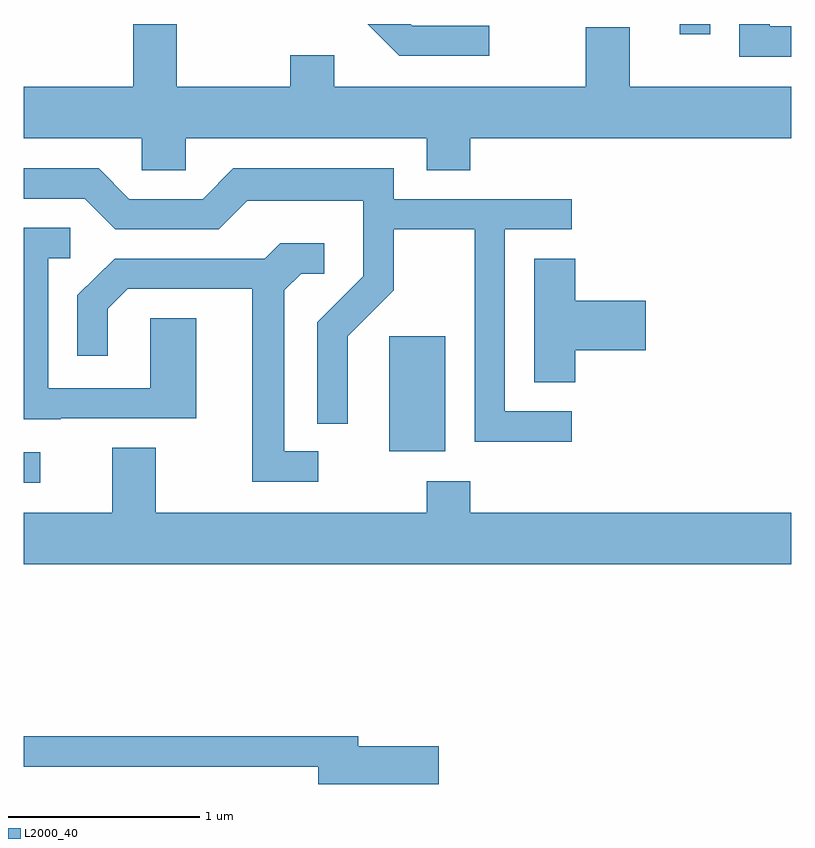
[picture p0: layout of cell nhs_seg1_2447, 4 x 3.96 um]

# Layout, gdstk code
import gdstk
lib = gdstk.Library(unit=1e-6, precision=1e-09)
def R(c, l, rs):  # rectangles x0, y0, x1, y1
    for r in rs: c.add(gdstk.rectangle(r[:2], r[2:], *l))
def P(c, l, *ps):  # polygons
    for p in ps: c.add(gdstk.Polygon(p, *l))
L2000_40 = (2000, 40)

nhs_seg1_2447 = lib.new_cell('nhs_seg1_2447')
R(nhs_seg1_2447, L2000_40, [(259.611,913.321,259.698,913.479), (261.516,913.486,261.809,914.084), (263.031,915.658,263.189,915.712)])
P(nhs_seg1_2447, L2000_40, [(263.611,915.699),(263.499,915.699),(263.499,915.712),(263.341,915.712),(263.341,915.541),(263.611,915.541)],
  [(262.038,915.704),(261.637,915.704),(261.629,915.712),(261.403,915.712),(261.569,915.546),(262.038,915.546)],
  [(260.454,915.116),(261.711,915.116),(261.711,914.951),(261.939,914.951),(261.939,915.116),(263.611,915.116),(263.611,915.384),(262.769,915.384),(262.769,915.694),(262.541,915.694),(262.541,915.384),(261.229,915.384),(261.229,915.549),(261.001,915.549),(261.001,915.384),(260.409,915.384),(260.409,915.712),(260.181,915.712),(260.181,915.384),(259.611,915.384),(259.611,915.116),(260.226,915.116),(260.226,914.951),(260.454,914.951)],
  [(262.468,913.694),(262.119,913.694),(262.119,914.641),(262.468,914.641),(262.468,914.799),(261.539,914.799),(261.539,914.959),(260.704,914.959),(260.544,914.799),(260.162,914.799),(260.002,914.959),(259.611,914.959),(259.611,914.801),(259.929,914.801),(260.089,914.641),(260.627,914.641),(260.777,914.791),(261.381,914.791),(261.381,914.397),(261.141,914.157),(261.141,913.628),(261.299,913.628),(261.299,914.084),(261.539,914.324),(261.539,914.641),(261.961,914.641),(261.961,913.536),(262.468,913.536)],
  [(259.805,913.656),(260.509,913.656),(260.509,914.179),(260.271,914.179),(260.271,913.814),(259.739,913.814),(259.739,914.491),(259.853,914.491),(259.853,914.649),(259.611,914.649),(259.611,913.651),(259.805,913.651)],
  [(261.147,913.484),(260.969,913.484),(260.969,914.324),(261.057,914.411),(261.178,914.411),(261.178,914.569),(260.949,914.569),(260.868,914.489),(260.084,914.489),(259.891,914.297),(259.891,913.983),(260.049,913.983),(260.049,914.229),(260.152,914.331),(260.801,914.331),(260.801,913.326),(261.147,913.326)],
  [(262.484,914.011),(262.854,914.011),(262.854,914.269),(262.484,914.269),(262.484,914.489),(262.271,914.489),(262.271,913.846),(262.484,913.846)],
  [(261.711,913.329),(261.711,913.164),(260.299,913.164),(260.299,913.504),(260.071,913.504),(260.071,913.164),(259.611,913.164),(259.611,912.896),(263.611,912.896),(263.611,913.164),(261.939,913.164),(261.939,913.329)],
  [(261.774,911.949),(261.354,911.949),(261.354,911.999),(259.611,911.999),(259.611,911.841),(261.146,911.841),(261.146,911.751),(261.774,911.751)])

lib.write_gds('nhs_seg1_2447.gds')
